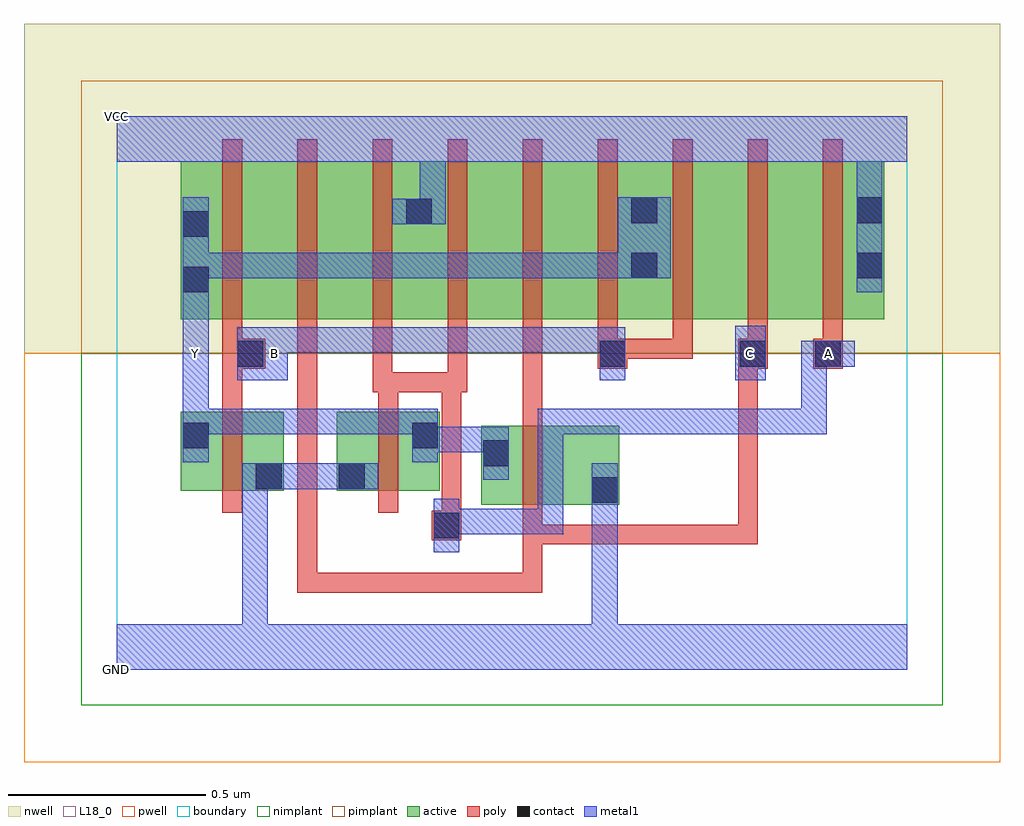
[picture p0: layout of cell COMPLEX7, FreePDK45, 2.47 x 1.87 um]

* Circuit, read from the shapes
.subckt COMPLEX7 A B C GND VCC Y
M1 GND B Y VSUBS nfet w=0.2u l=0.05u
M2 Y A GND VSUBS nfet w=0.2u l=0.05u
M3 GND C Y VSUBS nfet w=0.2u l=0.05u
M4 n1 B Y n2 pfet w=0.4u l=0.05u
M5 n3 C n1 n2 pfet w=0.4u l=0.05u
M6 VCC A n3 n2 pfet w=0.4u l=0.05u
M7 n4 A VCC n2 pfet w=0.4u l=0.05u
M8 n5 C n4 n2 pfet w=0.4u l=0.05u
M9 Y B n5 n2 pfet w=0.4u l=0.05u
M10 n6 B Y n2 pfet w=0.4u l=0.05u
M11 n7 C n6 n2 pfet w=0.4u l=0.05u
M12 VCC A n7 n2 pfet w=0.4u l=0.05u
.ends

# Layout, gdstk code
import gdstk
lib = gdstk.Library(unit=1e-6, precision=1e-09)
def R(c, l, rs):  # rectangles x0, y0, x1, y1
    for r in rs: c.add(gdstk.rectangle(r[:2], r[2:], *l))
def A(c, l, x, y, w, h, nx, ny, dx, dy):  # array of equal rectangles
    R(c, l, [(x+i*dx, y+j*dy, x+i*dx+w, y+j*dy+h) for i in range(nx) for j in range(ny)])
active = (1, 0)
pwell = (2, 0)
nwell = (3, 0)
nimplant = (4, 0)
pimplant = (5, 0)
poly = (9, 0)
contact = (10, 0)
metal1 = (11, 0)
L18_0 = (18, 0)
boundary = (235, 0)

complex7 = lib.new_cell('COMPLEX7')
A(complex7, active, 0.387, 0.887, 0.19, 0.4, 3, 1, 0.57, 0)
A(complex7, active, 0.577, 0.887, 0.225, 0.4, 3, 1, 0.57, 0)
R(complex7, active, [(0.922,0.417,1.272,0.617), (1.197,0.417,1.272,0.617), (0.162,0.452,0.422,0.652), (0.347,0.452,0.422,0.652), (0.557,0.452,0.632,0.652), (0.557,0.452,0.817,0.652), (0.922,0.51,0.997,0.617), (0.162,0.532,0.237,0.652), (0.742,0.545,0.817,0.652), (0.162,0.887,0.387,1.287), (0.162,0.887,0.267,1.2), (0.727,0.887,0.957,1.287), (1.297,0.887,1.527,1.287), (1.867,0.887,1.942,1.255), (0.727,0.907,0.802,1.255), (1.297,0.907,1.372,1.2)])
R(complex7, pwell, [(-0.235,-0.235,2.235,0.8)])
R(complex7, nwell, [(-0.235,0.8,2.235,1.635)])
R(complex7, nimplant, [(-0.09,-0.09,2.09,0.8)])
R(complex7, pimplant, [(-0.09,0.8,2.09,1.49)])
A(complex7, poly, 1.217, 0.787, 0.05, 0.095, 4, 1, 0.19, 0)
A(complex7, poly, 0.267, 0.832, 0.05, 0.51, 9, 1, 0.19, 0)
R(complex7, poly, [(0.457,0.195,0.507,0.245), (0.457,0.195,0.507,0.245), (0.457,0.195,0.507,0.245), (0.457,0.195,0.507,0.245), (0.457,0.195,0.507,0.245), (0.457,0.195,0.507,0.245), (0.457,0.195,0.507,0.245), (0.457,0.195,0.507,0.245), (0.457,0.195,0.507,0.245), (0.457,0.195,0.715,0.245), (0.457,0.195,0.507,0.882), (0.665,0.195,0.715,0.245), (0.665,0.195,0.715,0.245), (0.665,0.195,0.715,0.245), (0.665,0.195,0.847,0.245), (0.797,0.195,0.847,0.245), (0.797,0.195,0.847,0.245), (0.797,0.195,0.847,0.245), (0.797,0.195,1.077,0.245), (1.027,0.195,1.077,0.367), (1.027,0.317,1.077,0.412), (1.027,0.317,1.077,0.367), (1.027,0.317,1.077,0.367), (1.027,0.317,1.27,0.367), (1.22,0.317,1.27,0.367), (1.22,0.317,1.27,0.367), (1.22,0.317,1.27,0.367), (1.22,0.317,1.49,0.367), (1.44,0.317,1.49,0.367), (1.44,0.317,1.622,0.367), (1.572,0.317,1.622,0.367), (1.572,0.317,1.622,0.367), (1.572,0.317,1.622,0.367), (1.572,0.317,1.622,0.367), (1.572,0.317,1.622,0.367), (1.572,0.317,1.622,0.812), (0.797,0.327,0.872,0.402), (0.822,0.352,0.872,0.752), (1.027,0.362,1.077,0.672), (0.267,0.397,0.317,0.707), (0.662,0.397,0.712,0.707), (1.027,0.622,1.077,0.717), (0.267,0.657,0.317,0.812), (0.662,0.657,0.712,0.752), (1.027,0.667,1.077,0.717), (1.027,0.667,1.077,0.882), (0.647,0.702,0.697,0.882), (0.647,0.702,0.712,0.752), (0.662,0.702,0.712,0.752), (0.662,0.702,0.712,0.752), (0.662,0.702,0.872,0.752), (0.822,0.702,0.872,0.752), (0.822,0.702,0.872,0.752), (0.822,0.702,0.887,0.752), (0.837,0.702,0.887,0.882), (0.267,0.762,0.375,0.837), (1.217,0.762,1.292,0.837), (1.572,0.762,1.647,0.837), (1.572,0.762,1.622,0.812), (1.572,0.762,1.622,0.812), (1.762,0.762,1.837,0.837), (0.267,0.787,0.317,0.882), (1.242,0.787,1.292,0.837), (1.242,0.787,1.292,0.837), (1.242,0.787,1.457,0.837), (1.407,0.787,1.457,0.837)])
R(complex7, contact, [(0.802,0.332,0.867,0.397), (1.202,0.422,1.267,0.487), (0.352,0.457,0.417,0.522), (0.562,0.457,0.627,0.522), (0.927,0.515,0.992,0.58), (0.167,0.56,0.232,0.625), (0.747,0.56,0.812,0.625), (0.305,0.767,0.37,0.832), (1.222,0.767,1.287,0.832), (1.577,0.767,1.642,0.832), (1.767,0.767,1.832,0.832), (0.167,0.955,0.232,1.02), (1.302,0.99,1.367,1.055), (1.872,0.99,1.937,1.055), (0.167,1.095,0.232,1.16), (0.732,1.127,0.797,1.192), (1.302,1.13,1.367,1.195), (1.872,1.13,1.937,1.195)])
R(complex7, metal1, [(0,0,2,0.115), (0.317,0.05,0.382,0.115), (0.317,0.05,0.382,0.115), (0.317,0.05,0.382,0.115), (0.317,0.05,0.382,0.115), (0.317,0.05,0.382,0.115), (0.317,0.05,0.382,0.115), (0.317,0.05,0.382,0.115), (0.317,0.05,0.382,0.115), (0.317,0.05,0.382,0.522), (1.202,0.05,1.267,0.452), (0.802,0.297,0.867,0.432), (0.802,0.342,0.992,0.407), (0.927,0.342,0.992,0.407), (0.927,0.342,1.13,0.407), (1.065,0.342,1.13,0.407), (1.065,0.342,1.13,0.66), (1.202,0.387,1.267,0.452), (1.202,0.387,1.267,0.452), (1.202,0.387,1.267,0.452), (1.202,0.387,1.267,0.452), (1.202,0.387,1.267,0.452), (1.202,0.387,1.267,0.452), (1.202,0.387,1.267,0.452), (1.202,0.387,1.267,0.452), (1.202,0.387,1.267,0.522), (0.317,0.457,0.452,0.522), (0.387,0.457,0.57,0.522), (0.505,0.457,0.57,0.522), (0.505,0.457,0.592,0.522), (0.527,0.457,0.662,0.522), (0.927,0.48,0.992,0.615), (0.167,0.525,0.232,0.66), (0.747,0.525,0.812,0.66), (0.747,0.55,0.992,0.615), (0.927,0.55,0.992,0.615), (0.927,0.55,0.992,0.615), (0.167,0.595,0.232,0.66), (0.167,0.595,0.232,0.66), (0.167,0.595,0.455,0.66), (0.167,0.595,0.232,0.797), (0.39,0.595,0.455,0.66), (0.39,0.595,0.592,0.66), (0.527,0.595,0.592,0.66), (0.527,0.595,0.592,0.66), (0.527,0.595,0.592,0.66), (0.527,0.595,0.73,0.66), (0.665,0.595,0.73,0.66), (0.665,0.595,0.812,0.66), (1.065,0.595,1.13,0.66), (1.065,0.595,1.13,0.66), (1.065,0.595,1.13,0.66), (1.065,0.595,1.287,0.66), (1.222,0.595,1.287,0.66), (1.222,0.595,1.492,0.66), (1.427,0.595,1.492,0.66), (1.427,0.595,1.492,0.66), (1.427,0.595,1.492,0.66), (1.427,0.595,1.66,0.66), (1.595,0.595,1.66,0.66), (1.595,0.595,1.66,0.66), (1.595,0.595,1.66,0.66), (1.595,0.595,1.797,0.66), (1.732,0.595,1.797,0.66), (1.732,0.595,1.797,0.832), (0.167,0.732,0.232,0.867), (0.305,0.732,0.432,0.867), (1.222,0.732,1.287,0.867), (1.565,0.732,1.642,0.87), (1.732,0.767,1.797,0.832), (1.732,0.767,1.797,0.832), (1.732,0.767,1.867,0.832), (0.167,0.802,0.232,0.985), (0.367,0.802,0.432,0.867), (0.367,0.802,0.432,0.867), (0.367,0.802,0.592,0.867), (0.527,0.802,0.592,0.867), (0.527,0.802,0.592,0.867), (0.527,0.802,0.592,0.867), (0.527,0.802,0.73,0.867), (0.665,0.802,0.73,0.867), (0.665,0.802,0.73,0.867), (0.665,0.802,0.73,0.867), (0.665,0.802,0.992,0.867), (0.927,0.802,0.992,0.867), (0.927,0.802,0.992,0.867), (0.927,0.802,0.992,0.867), (0.927,0.802,1.13,0.867), (1.065,0.802,1.13,0.867), (1.065,0.802,1.13,0.867), (1.065,0.802,1.13,0.867), (1.065,0.802,1.287,0.867), (0.167,0.92,0.232,1.195), (1.872,0.955,1.937,1.23), (0.167,0.99,0.232,1.055), (0.167,0.99,0.232,1.055), (0.167,0.99,0.37,1.055), (0.305,0.99,0.37,1.055), (0.305,0.99,0.592,1.055), (0.527,0.99,0.592,1.055), (0.527,0.99,0.592,1.055), (0.527,0.99,0.592,1.055), (0.527,0.99,0.73,1.055), (0.665,0.99,0.73,1.055), (0.665,0.99,0.73,1.055), (0.665,0.99,0.73,1.055), (0.665,0.99,0.95,1.055), (0.885,0.99,0.95,1.055), (0.885,0.99,0.95,1.055), (0.885,0.99,0.95,1.055), (0.885,0.99,1.15,1.055), (1.085,0.99,1.15,1.055), (1.085,0.99,1.15,1.055), (1.085,0.99,1.15,1.055), (1.085,0.99,1.332,1.055), (1.267,0.99,1.332,1.055), (1.267,0.99,1.332,1.055), (1.267,0.99,1.402,1.195), (0.697,1.127,0.832,1.192), (0.767,1.127,0.832,1.35), (1.872,1.165,1.937,1.35), (0,1.285,2,1.4)])
R(complex7, L18_0, [(0,0,2,0.115), (0.317,0.05,0.382,0.115), (0.317,0.05,0.382,0.115), (0.317,0.05,0.382,0.115), (0.317,0.05,0.382,0.115), (0.317,0.05,0.382,0.115), (0.317,0.05,0.382,0.115), (0.317,0.05,0.382,0.115), (0.317,0.05,0.382,0.115), (0.317,0.05,0.382,0.522), (1.202,0.05,1.267,0.452), (0.802,0.297,0.867,0.432), (0.802,0.342,0.992,0.407), (0.927,0.342,0.992,0.407), (0.927,0.342,1.13,0.407), (1.065,0.342,1.13,0.407), (1.065,0.342,1.13,0.66), (1.202,0.387,1.267,0.522), (1.202,0.387,1.267,0.452), (1.202,0.387,1.267,0.452), (1.202,0.387,1.267,0.452), (1.202,0.387,1.267,0.452), (1.202,0.387,1.267,0.452), (1.202,0.387,1.267,0.452), (1.202,0.387,1.267,0.452), (1.202,0.387,1.267,0.452), (0.317,0.457,0.452,0.522), (0.387,0.457,0.57,0.522), (0.505,0.457,0.57,0.522), (0.505,0.457,0.592,0.522), (0.527,0.457,0.662,0.522), (0.927,0.48,0.992,0.615), (0.167,0.525,0.232,0.66), (0.747,0.525,0.812,0.66), (0.747,0.55,0.992,0.615), (0.927,0.55,0.992,0.615), (0.927,0.55,0.992,0.615), (0.167,0.595,0.232,0.797), (0.167,0.595,0.232,0.66), (0.167,0.595,0.232,0.66), (0.167,0.595,0.455,0.66), (0.39,0.595,0.455,0.66), (0.39,0.595,0.592,0.66), (0.527,0.595,0.592,0.66), (0.527,0.595,0.592,0.66), (0.527,0.595,0.592,0.66), (0.527,0.595,0.73,0.66), (0.665,0.595,0.73,0.66), (0.665,0.595,0.812,0.66), (1.065,0.595,1.13,0.66), (1.065,0.595,1.13,0.66), (1.065,0.595,1.13,0.66), (1.065,0.595,1.287,0.66), (1.222,0.595,1.287,0.66), (1.222,0.595,1.492,0.66), (1.427,0.595,1.492,0.66), (1.427,0.595,1.492,0.66), (1.427,0.595,1.492,0.66), (1.427,0.595,1.66,0.66), (1.595,0.595,1.66,0.66), (1.595,0.595,1.66,0.66), (1.595,0.595,1.66,0.66), (1.595,0.595,1.797,0.66), (1.732,0.595,1.797,0.66), (1.732,0.595,1.797,0.832), (0.167,0.732,0.232,0.867), (0.305,0.732,0.432,0.867), (1.222,0.732,1.287,0.867), (1.565,0.732,1.642,0.87), (0.167,0.767,0.232,0.832), (0.367,0.767,0.432,0.832), (1.567,0.767,1.632,0.832), (1.732,0.767,1.797,0.832), (1.732,0.767,1.797,0.832), (1.732,0.767,1.867,0.832), (1.767,0.767,1.832,0.832), (0.167,0.802,0.232,0.985), (0.367,0.802,0.432,0.867), (0.367,0.802,0.432,0.867), (0.367,0.802,0.592,0.867), (0.527,0.802,0.592,0.867), (0.527,0.802,0.592,0.867), (0.527,0.802,0.592,0.867), (0.527,0.802,0.73,0.867), (0.665,0.802,0.73,0.867), (0.665,0.802,0.73,0.867), (0.665,0.802,0.73,0.867), (0.665,0.802,0.992,0.867), (0.927,0.802,0.992,0.867), (0.927,0.802,0.992,0.867), (0.927,0.802,0.992,0.867), (0.927,0.802,1.13,0.867), (1.065,0.802,1.13,0.867), (1.065,0.802,1.13,0.867), (1.065,0.802,1.13,0.867), (1.065,0.802,1.287,0.867), (0.167,0.92,0.232,1.195), (1.872,0.955,1.937,1.23), (0.167,0.99,0.232,1.055), (0.167,0.99,0.232,1.055), (0.167,0.99,0.37,1.055), (0.305,0.99,0.37,1.055), (0.305,0.99,0.592,1.055), (0.527,0.99,0.592,1.055), (0.527,0.99,0.592,1.055), (0.527,0.99,0.592,1.055), (0.527,0.99,0.73,1.055), (0.665,0.99,0.73,1.055), (0.665,0.99,0.73,1.055), (0.665,0.99,0.73,1.055), (0.665,0.99,0.95,1.055), (0.885,0.99,0.95,1.055), (0.885,0.99,0.95,1.055), (0.885,0.99,0.95,1.055), (0.885,0.99,1.15,1.055), (1.085,0.99,1.15,1.055), (1.085,0.99,1.15,1.055), (1.085,0.99,1.15,1.055), (1.085,0.99,1.332,1.055), (1.267,0.99,1.332,1.055), (1.267,0.99,1.332,1.055), (1.267,0.99,1.402,1.195), (0.697,1.127,0.832,1.192), (0.767,1.127,0.832,1.35), (1.872,1.165,1.937,1.35), (0,1.285,2,1.4)])
R(complex7, boundary, [(0,0,2,1.4)])
complex7.add(gdstk.Label('A', (1.8,0.8), layer=11, texttype=0))
complex7.add(gdstk.Label('B', (0.4,0.8), layer=11, texttype=0))
complex7.add(gdstk.Label('C', (1.6,0.8), layer=11, texttype=0))
complex7.add(gdstk.Label('Y', (0.2,0.8), layer=11, texttype=0))
complex7.add(gdstk.Label('VCC', (0,1.4), layer=11, texttype=0))
complex7.add(gdstk.Label('GND', (0,0), layer=11, texttype=0))

lib.write_gds('COMPLEX7.gds')
